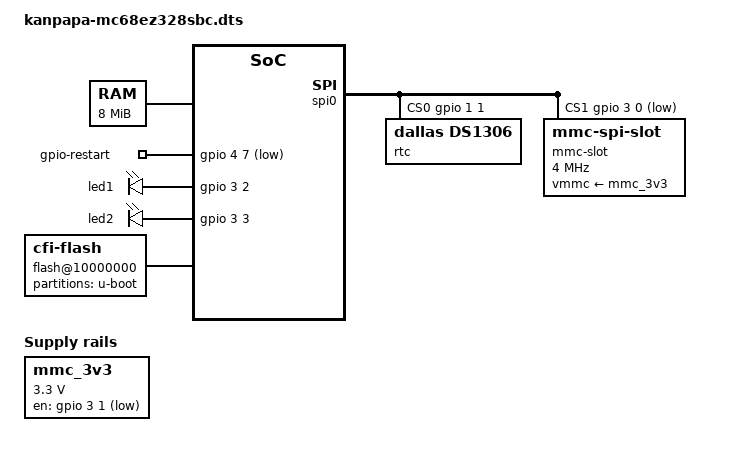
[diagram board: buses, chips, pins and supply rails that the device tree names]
// SPDX-License-Identifier: GPL-2.0+
/*
 */

/dts-v1/;
#include "mc68ez328.dtsi"
#include "dt-bindings/gpio/gpio.h"
/ {
	#address-cells = <1>;
	#size-cells = <1>;

	compatible = "kanpapa,mc68ez328sbc";

	memory {
		device_type = "memory";
		reg = <0x0 0x800000>;
	};

	/* Doesn't work? */
	gpio-restart {
		compatible = "gpio-restart";
		gpios = <&gpio 4 7 GPIO_ACTIVE_LOW>;
	};

	leds {
		compatible = "gpio-leds";
		led1 {
			gpios = <&gpio 3 2 GPIO_ACTIVE_HIGH>;
			linux,default-trigger = "heartbeat";
		};
		led2 {
			gpios = <&gpio 3 3 GPIO_ACTIVE_HIGH>;
			linux,default-trigger = "mmc0";
		};
	};

	flash@10000000 {
		compatible = "cfi-flash";
		reg = <0x10000000 0x800000>;
		bank-width = <2>;
		device-width = <1>;
		#address-cells = <1>;
		#size-cells = <1>;
		partition@0 {
			label = "u-boot";
			reg = <0x0000000 0x100000>;
			read-only;
		};

		kernel@100000 {
			label = "kernel";
			reg = <0x100000 0x200000>;
		};

		rootfs@300000 {
			label = "rootfs";
			reg = <0x300000 0x500000>;
		};
	};

	mmc_3v3: fixedregulator@0 {
		compatible = "regulator-fixed";
		regulator-name = "mmc_3v3";
		regulator-min-microvolt = <3300000>;
		regulator-max-microvolt = <3300000>;
		gpio = <&gpio 3 1 0>;
		startup-delay-us = <500000>;
		off-on-delay-us = <500000>;
	};
};

&spi0 {
	cs-gpios = <&gpio 1 1 GPIO_ACTIVE_HIGH>, <&gpio 3 0 GPIO_ACTIVE_LOW>;
	status = "okay";
	rtc@0 {
		compatible = "dallas,ds1306";
		reg = <0x0>;
		clock-names = "xtal";
		clocks = <&osc>;
		spi-cs-high;
		spi-cpha;
		status = "okay";
	};

	mmc-slot@1 {
		compatible = "mmc-spi-slot";
		reg = <1>;
		vmmc-supply = <&mmc_3v3>;
		spi-max-frequency = <4000000>;
		//cd-gpios = <&gpio &gpio 3 4 GPIO_ACTIVE_LOW>;
	};
};
